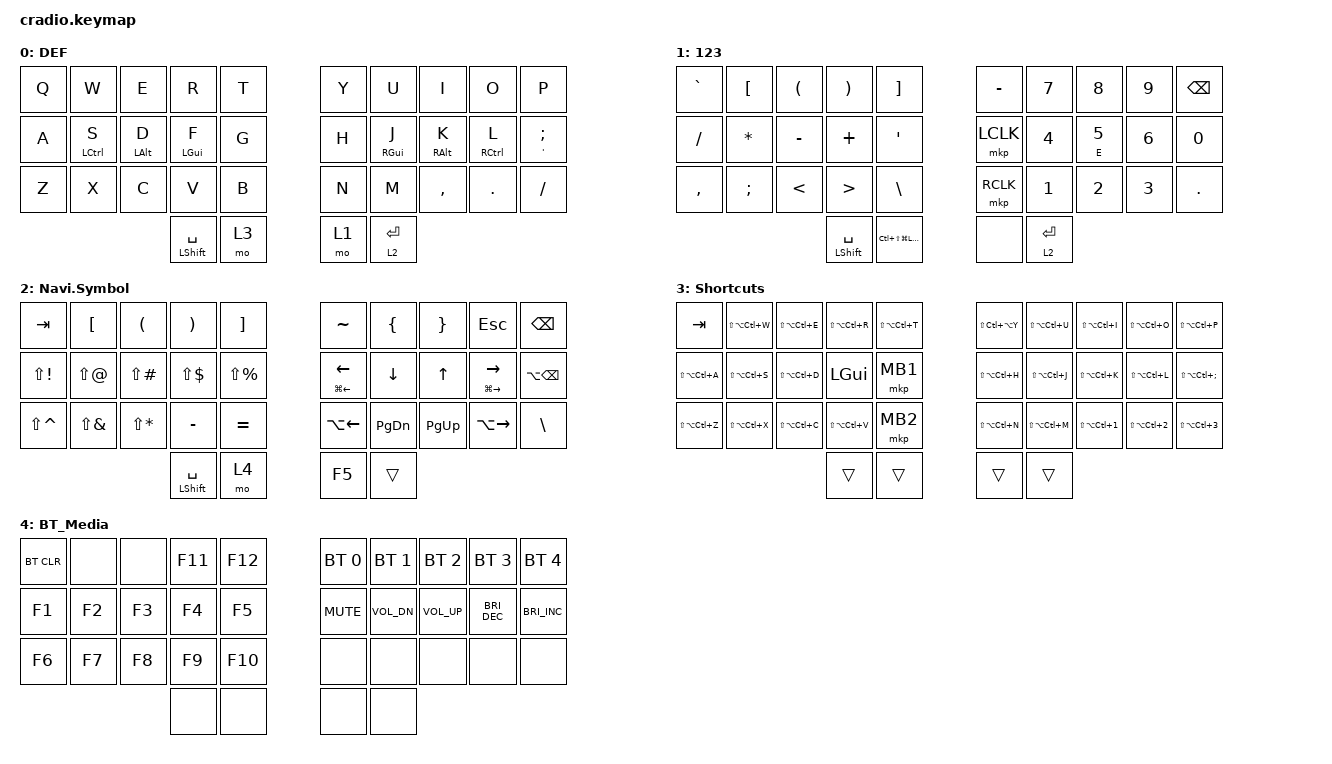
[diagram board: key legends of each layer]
// Copyright (c) 2022 The ZMK Contributors
// SPDX-License-Identifier: MIT

#define ZMK_POINTING_DEFAULT_MOVE_VAL 2500  // 600
#define ZMK_POINTING_DEFAULT_SCRL_VAL 20    // 10

#include <behaviors.dtsi>
#include <dt-bindings/zmk/bt.h>
#include <dt-bindings/zmk/keys.h>
#include <dt-bindings/zmk/pointing.h>

#define MAC 0
#define WIN 1
#define RIG 2
#define LEF 3
#define TRI 4
#define MOUSE 5

// https://zmk.dev/docs/development/hardware-integration/soft-off-setup?advanced-methods=wakeup&kscan-type=dkscan

/ {
    keys {
        compatible = "gpio-keys";

        soft_off_gpio_key: soft_off_gpio_key { gpios = <&gpio1 6 (GPIO_ACTIVE_LOW | GPIO_PULL_UP)>; };
    };

    wakeup_scan: wakeup_scan {
        compatible = "zmk,kscan-gpio-direct";
        input-keys = <&soft_off_gpio_key>;
        wakeup-source;
    };

    side_band_behavior_triggers: side_band_behavior_triggers {
        compatible = "zmk,kscan-sideband-behaviors";
        kscan = <&wakeup_scan>;
        auto-enable;
        wakeup-source;
    };

    soft_off_wakers {
        compatible = "zmk,soft-off-wakeup-sources";
        wakeup-sources = <&wakeup_scan>;
    };
};

/ {
    chosen { zmk,charmap = &charmap_us; };

    behaviors {
        ht: hold_tap {
            label = "hold_tap";
            compatible = "zmk,behavior-hold-tap";
            #binding-cells = <2>;
            flavor = "tap-preferred";
            tapping-term-ms = <220>;
            quick-tap-ms = <150>;
            global-quick-tap;
            bindings = <&kp>, <&kp>;
        };

        ht_long: hold_tap_long {
            label = "hold_tap_long";
            compatible = "zmk,behavior-hold-tap";
            #binding-cells = <2>;
            flavor = "tap-preferred";
            tapping-term-ms = <300>;
            quick-tap-ms = <150>;
            global-quick-tap;
            bindings = <&kp>, <&kp>;
        };

        lm: lm {
            compatible = "zmk,behavior-macro-two-param";
            wait-ms = <20>;
            tap-ms = <0>;
            #binding-cells = <2>;
            bindings =
                <&macro_param_1to1>,
                <&macro_press>,
                <&mo MACRO_PLACEHOLDER &macro_param_2to1>,
                <&macro_press>,
                <&kp MACRO_PLACEHOLDER>,
                <&macro_pause_for_release>,
                <&macro_param_2to1>,
                <&macro_release>,
                <&kp MACRO_PLACEHOLDER &macro_param_1to1>,
                <&macro_release>,
                <&mo MACRO_PLACEHOLDER>;
        };

        mmv {
            acceleration-exponent = <1>;      // 1
            time-to-max-speed-ms = <300>;    // 40
            delay-ms = <0>;                   // 0
        };

        msc {
            acceleration-exponent = <0>;      // 0
            time-to-max-speed-ms = <40>;      // 500
            delay-ms = <0>;                   // 10
        };
    };

    conditional_layers { compatible = "zmk,conditional-layers"; };

    macros {
    };

    keymap {
        compatible = "zmk,keymap";

        Alpha {
            display-name = "DEF";
            bindings = <
&kp Q  &kp W             &kp E                &kp R                 &kp T    &kp Y  &kp U            &kp I                 &kp O             &kp P
&kp A  &ht_long LCTRL S  &ht_long LEFT_ALT D  &ht_long LGUI F       &kp G    &kp H  &ht_long RGUI J  &ht_long RIGHT_ALT K  &ht_long RCTRL L  &ht SQT SEMICOLON
&kp Z  &kp X             &kp C                &kp V                 &kp B    &kp N  &kp M            &kp COMMA             &kp PERIOD        &kp SLASH
                                              &ht LEFT_SHIFT SPACE  &mo 3    &mo 1  &lt 2 ENTER
            >;
        };

        Math {
            display-name = "123";
            bindings = <
&kp GRAVE  &kp LEFT_BRACKET  &kp LEFT_PARENTHESIS  &kp RIGHT_PARENTHESIS  &kp RIGHT_BRACKET           &kp MINUS  &kp N7        &kp N8          &kp N9        &kp BACKSPACE
&kp SLASH  &kp ASTERISK      &kp MINUS             &kp PLUS               &kp SQT                     &mkp LCLK  &kp NUMBER_4  &ht E NUMBER_5  &kp NUMBER_6  &kp NUMBER_0
&kp COMMA  &kp SEMICOLON     &kp LESS_THAN         &kp GREATER_THAN       &kp BACKSLASH               &mkp RCLK  &kp NUMBER_1  &kp NUMBER_2    &kp NUMBER_3  &kp PERIOD
                                                   &ht LSHIFT SPACE       &kp LC(LS(LG(LEFT_ALT)))    &none      &lt 2 ENTER
            >;
        };

        Navi.Symbol {
            bindings = <
&kp TAB        &kp LEFT_BRACKET  &kp LEFT_PARENTHESIS  &kp RIGHT_PARENTHESIS  &kp RIGHT_BRACKET    &kp TILDE                &kp LEFT_BRACE  &kp RIGHT_BRACE  &kp ESCAPE           &kp BSPC
&kp LS(EXCL)   &kp LS(AT)        &kp LS(POUND)         &kp LS(DLLR)           &kp LS(PRCNT)        &ht LG(LEFT) LEFT_ARROW  &kp DOWN        &kp UP           &ht LG(RIGHT) RIGHT  &kp LA(BACKSPACE)
&kp LS(CARET)  &kp LS(AMPS)      &kp LS(STAR)          &kp MINUS              &kp EQUAL            &kp LA(LEFT)             &kp PAGE_DOWN   &kp PAGE_UP      &kp LA(RIGHT)        &kp BACKSLASH
                                                       &ht LSHFT SPACE        &mo 4                &kp F5                   &trans
            >;
        };

        Shortcuts {
            bindings = <
&kp TAB            &kp LS(LA(LC(W)))  &kp LS(LA(LC(E)))  &kp LS(LA(LC(R)))  &kp LS(LA(LC(T)))    &kp LS(LC(LA(Y)))  &kp LS(LA(LC(U)))  &kp LS(LA(LC(I)))         &kp LS(LA(LC(O)))         &kp LS(LA(LC(P)))
&kp LS(LA(LC(A)))  &kp LS(LA(LC(S)))  &kp LS(LA(LC(D)))  &kp LEFT_GUI       &mkp MB1             &kp LS(LA(LC(H)))  &kp LS(LA(LC(J)))  &kp LS(LA(LC(K)))         &kp LS(LA(LC(L)))         &kp LS(LA(LC(SEMICOLON)))
&kp LS(LA(LC(Z)))  &kp LS(LA(LC(X)))  &kp LS(LA(LC(C)))  &kp LS(LA(LC(V)))  &mkp MB2             &kp LS(LA(LC(N)))  &kp LS(LA(LC(M)))  &kp LS(LA(LC(NUMBER_1)))  &kp LS(LA(LC(NUMBER_2)))  &kp LS(LA(LC(NUMBER_3)))
                                                         &trans             &trans               &trans             &trans
            >;
        };

        BT_Media {
            bindings = <
&bt BT_CLR  &none   &none   &kp F11  &kp F12    &bt BT_SEL 0  &bt BT_SEL 1  &bt BT_SEL 2  &bt BT_SEL 3          &bt BT_SEL 4
&kp F1      &kp F2  &kp F3  &kp F4   &kp F5     &kp K_MUTE    &kp C_VOL_DN  &kp C_VOL_UP  &kp C_BRIGHTNESS_DEC  &kp C_BRIGHTNESS_INC
&kp F6      &kp F7  &kp F8  &kp F9   &kp F10    &none         &none         &none         &none                 &none
                            &none    &none      &none         &none
            >;
        };
    };
};
